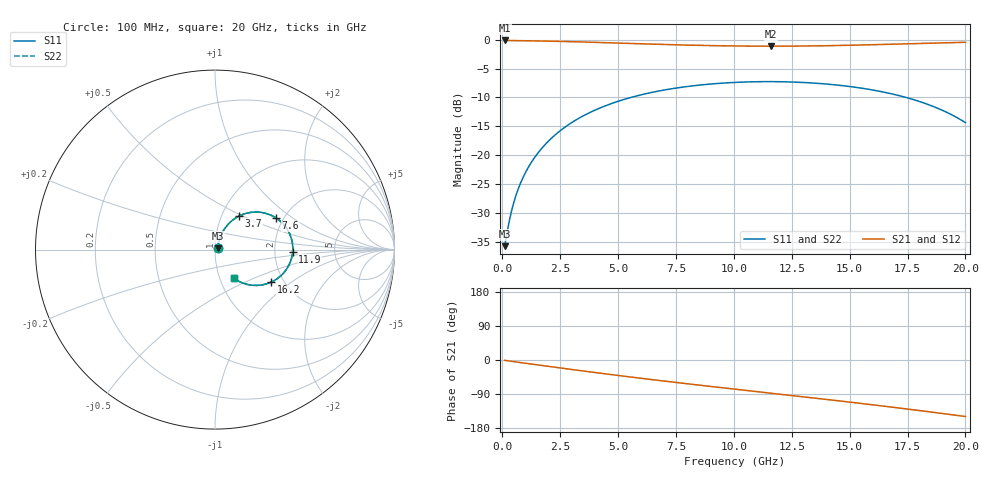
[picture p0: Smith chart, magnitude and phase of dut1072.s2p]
! Touchstone file exported from HFSS 2026.1.0
!  File:  C:/ffzhzh/LocalFiles/Ansys_Project_Files/temp_train_TSV_RDL_1072_1783299586_38820.aedt
!  Generated:  09:07:57 AM Jul  6, 2026
!  Design:  TSV_RDL
!  Project:  temp_train_TSV_RDL_1072_1783299586_38820
! Variables:
!  h_bsmrdl = 2.52um
!  h_ox = 20um
!  h_rdl = 5um
!  h_sub = 63.99um
!  h_tmrdl = 2.59um
!  h_tsv = 63.99um
!  h_via = 3um
!  l_bsmrdl = 454.98um
!  l_sub = 2448.05um
!  l_tmrdl = 140.53um
!  m_sub = 200um
!  pitch = 45.38um
!  r_tsv = 14.22um
!  s_tmrdl = 10um
!  w_bsmrdl = 20.02um
!  w_sub = 500um
!  w_tmrdl = 20.31um
!  x_tsv_center1 = 150.685um
!  x_tsv_center2 = 625.685um
!  x_tsv_center3 = 786.525um
!  x_tsv_center4 = 1261.525um
!  x_tsv_center5 = 1422.365um
!  x_tsv_center6 = 1897.365um
# GHz S MA R 50.000000
! Terminal data exported
! Port[1] = TM_RDL1_1_T1
! Port[2] = TM_RDL5_1_T1
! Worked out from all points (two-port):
!   200 points, 100 MHz to 20 GHz, reference 50 ohm
!   highest |S21| = -0.13 dB at 100 MHz (marker M1); lowest = -1.1 dB at 11.6 GHz (marker M2)
!   |S21| within 3 dB of the highest: start of sweep to end of sweep
!   lowest |S11| = -35.8 dB at 100 MHz (marker M3), VSWR 1.03, Z = 51.5 + j0.75 ohm
!   |S11| at or under -10 dB: start of sweep to 5.555 GHz; 17.44 GHz to end of sweep
!   |S22| runs from -35.8 to -7.3 dB; largest |S21 - S12| = 3.2e-12
!   S11 on the Smith chart (normalised r, x): 100 MHz: 1.03, +0.01; 3.7 GHz: 1.21, +0.48; 7.6 GHz: 1.84, +0.76; 11.9 GHz: 2.53, -0.07; 16.2 GHz: 1.72, -0.72; 20 GHz: 1.17, -0.39
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0.1  0.01628 26.6  0.9855 -0.9  0.9855 -0.9  0.01628 26.6
! Gamma 0 0 0 0
! Port Impedance 50 0 50 0
0.3  0.0268 52.4  0.9845 -2.7  0.9845 -2.7  0.0268 52.4
0.4  0.03294 57.7  0.9838 -3.5  0.9838 -3.5  0.03294 57.7
0.6  0.04546 63.2  0.9824 -5.2  0.9824 -5.2  0.04546 63.2
0.9  0.06434 66.4  0.9804 -7.7  0.9804 -7.7  0.06434 66.4
1.2  0.08324 67.1  0.9784 -10.2  0.9784 -10.2  0.08324 67.1
1.7  0.1144 66.1  0.9747 -14.4  0.9747 -14.4  0.1144 66.1
2.2  0.145 63.8  0.9703 -18.5  0.9703 -18.5  0.145 63.8
3.5  0.2193 55.7  0.9557 -29.1  0.9557 -29.1  0.2193 55.7
3.7  0.2299 54.4  0.9532 -30.7  0.9532 -30.7  0.2299 54.4
5.1  0.2972 44.6  0.9343 -41.6  0.9343 -41.6  0.2972 44.6
6.8  0.3609 32.7  0.9117 -54.2  0.9117 -54.2  0.3609 32.7
7.6  0.3838 27.2  0.9024 -60.0  0.9024 -60.0  0.3838 27.2
10.1  0.4273 10.4  0.8826 -77.4  0.8826 -77.4  0.4273 10.4
11.6  0.4335 0.6  0.8792 -87.6  0.8792 -87.6  0.4336 0.6
11.9  0.4331 -1.4  0.8793 -89.6  0.8793 -89.6  0.4331 -1.4
13.4  0.4218 -11.3  0.8839 -99.9  0.8839 -99.9  0.4219 -11.3
14.8  0.3979 -20.7  0.8935 -109.6  0.8935 -109.6  0.398 -20.7
16.2  0.3606 -30.3  0.9073 -119.7  0.9073 -119.7  0.3607 -30.3
16.7  0.344 -33.8  0.9129 -123.4  0.9129 -123.4  0.344 -33.7
18.5  0.2696 -46.4  0.934 -137.1  0.934 -137.1  0.2696 -46.4
20  0.1914 -56.8  0.9498 -149.1  0.9498 -149.1  0.1915 -56.7
